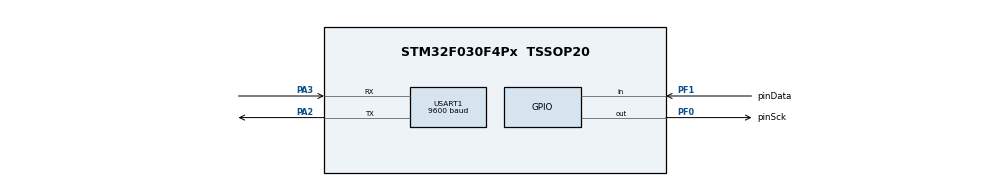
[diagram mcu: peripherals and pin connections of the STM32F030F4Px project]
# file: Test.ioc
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Mcu.Family=STM32F0
Mcu.Name=STM32F030F4Px
Mcu.Package=TSSOP20
PA13.Mode=Serial_Wire
PA13.Signal=SYS_SWDIO
PA14.Mode=Serial_Wire
PA14.Signal=SYS_SWCLK
PA2.Mode=Asynchronous
PA2.Signal=USART1_TX
PA3.Mode=Asynchronous
PA3.Signal=USART1_RX
PF0-OSC_IN.GPIO_Label=pinSck
PF0-OSC_IN.Signal=GPIO_Output
PF1-OSC_OUT.GPIO_Label=pinData
PF1-OSC_OUT.Signal=GPIO_Input
ProjectManager.HeapSize=0x200
ProjectManager.StackSize=0x400
ProjectManager.TargetToolchain=MDK-ARM V5.27
USART1.BaudRate=9600
USART1.VirtualMode-Asynchronous=VM_ASYNC
board=custom

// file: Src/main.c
/* USER CODE BEGIN Header */
/**
  ******************************************************************************
  * @file           : main.c
  * @brief          : Main program body
  ******************************************************************************
  * @attention
  *
  * <h2><center>&copy; Copyright (c) 2020 STMicroelectronics.
  * All rights reserved.</center></h2>
  *
  * This software component is licensed by ST under BSD 3-Clause license,
  * the "License"; You may not use this file except in compliance with the
  * License. You may obtain a copy of the License at:
  *                        opensource.org/licenses/BSD-3-Clause
  *
  ******************************************************************************
  */
/* USER CODE END Header */

#include "main.h"
#include "usart.h"
#include "gpio.h"

/* USER CODE BEGIN Includes */
#include "stdio.h"
#include "string.h"
#include "hx711.h"
/* USER CODE END Includes */

void SystemClock_Config(void);

int main(void)
{

  /* MCU Configuration--------------------------------------------------------*/

  /* Reset of all peripherals, Initializes the Flash interface and the Systick. */
  HAL_Init();

  /* Configure the system clock */
  SystemClock_Config();

  /* Initialize all configured peripherals */
  MX_GPIO_Init();
  MX_USART1_UART_Init();
  /* USER CODE BEGIN 2 */
void USART_TX();
  /* USER CODE END 2 */

  /* Infinite loop */
  while (1)
  {

    /* USER CODE BEGIN 3 */
		//USART_TX("Hi\n");
HX711 sensor;
sensor.PD_SCK_PinType=GPIOF;
sensor.PD_SCK_PinNumber=GPIO_PIN_0;
sensor.DOUT_PinType=GPIOF;
sensor.DOUT_PinNumber=GPIO_PIN_1;
sensor.mode=0;
int read = HX711_Read(&sensor);
int netkg = (read-158100)/473.43+1;
char gram[10];
sprintf(gram,"%d",netkg);
		USART_TX(gram);
		USART_TX("gram\n");
		HAL_Delay(500);
  }
  /* USER CODE END 3 */
}

void SystemClock_Config(void)
{
  RCC_OscInitTypeDef RCC_OscInitStruct = {0};
  RCC_ClkInitTypeDef RCC_ClkInitStruct = {0};
  RCC_PeriphCLKInitTypeDef PeriphClkInit = {0};

  /** Initializes the CPU, AHB and APB busses clocks
  */
  RCC_OscInitStruct.OscillatorType = RCC_OSCILLATORTYPE_HSI;
  RCC_OscInitStruct.HSIState = RCC_HSI_ON;
  RCC_OscInitStruct.HSICalibrationValue = RCC_HSICALIBRATION_DEFAULT;
  RCC_OscInitStruct.PLL.PLLState = RCC_PLL_NONE;
  if (HAL_RCC_OscConfig(&RCC_OscInitStruct) != HAL_OK)
  {
    Error_Handler();
  }
  /** Initializes the CPU, AHB and APB busses clocks
  */
  RCC_ClkInitStruct.ClockType = RCC_CLOCKTYPE_HCLK|RCC_CLOCKTYPE_SYSCLK
                              |RCC_CLOCKTYPE_PCLK1;
  RCC_ClkInitStruct.SYSCLKSource = RCC_SYSCLKSOURCE_HSI;
  RCC_ClkInitStruct.AHBCLKDivider = RCC_SYSCLK_DIV1;
  RCC_ClkInitStruct.APB1CLKDivider = RCC_HCLK_DIV1;

  if (HAL_RCC_ClockConfig(&RCC_ClkInitStruct, FLASH_LATENCY_0) != HAL_OK)
  {
    Error_Handler();
  }
  PeriphClkInit.PeriphClockSelection = RCC_PERIPHCLK_USART1;
  PeriphClkInit.Usart1ClockSelection = RCC_USART1CLKSOURCE_PCLK1;
  if (HAL_RCCEx_PeriphCLKConfig(&PeriphClkInit) != HAL_OK)
  {
    Error_Handler();
  }
}

/* USER CODE BEGIN 4 */
void USART_TX(uint8_t Veri1[])
{
	HAL_UART_Transmit(&huart1,Veri1,strlen(Veri1),1000);
	HAL_Delay(100);
}
/* USER CODE END 4 */

void Error_Handler(void)
{
}

/************************ (C) COPYRIGHT STMicroelectronics *****END OF FILE****/
